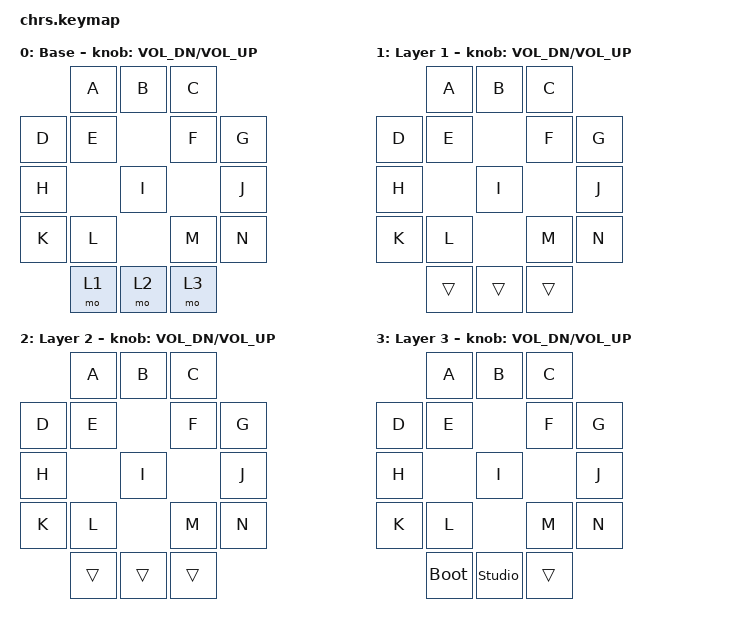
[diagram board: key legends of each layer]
#include <behaviors.dtsi>
#include <dt-bindings/zmk/keys.h>

/ {
    keymap {
        compatible = "zmk,keymap";

        default_layer {
            display-name = "Base";
            bindings = <
                &kp A &kp B &kp C
                &kp D &kp E &kp F &kp G
                &kp H &kp I &kp J
                &kp K &kp L &kp M &kp N
                &mo 1  &mo 2  &mo 3
            >;
            sensor-bindings = <&inc_dec_kp C_VOL_DN C_VOL_UP>;
        };
        layer_1 {
            display-name = "Layer 1";
            bindings = <
                &kp A &kp B &kp C
                &kp D &kp E &kp F &kp G
                &kp H &kp I &kp J
                &kp K &kp L &kp M &kp N
                &trans &trans &trans
            >;
            sensor-bindings = <&inc_dec_kp C_VOL_DN C_VOL_UP>;
        };
        layer_2 {
            display-name = "Layer 2";
            bindings = <
                &kp A &kp B &kp C
                &kp D &kp E &kp F &kp G
                &kp H &kp I &kp J
                &kp K &kp L &kp M &kp N
                &trans &trans &trans
            >;
            sensor-bindings = <&inc_dec_kp C_VOL_DN C_VOL_UP>;
        };
        layer_3 {
            display-name = "Layer 3";
            bindings = <
                &kp A &kp B &kp C
                &kp D &kp E &kp F &kp G
                &kp H &kp I &kp J
                &kp K &kp L &kp M &kp N
                &bootloader &studio_unlock &trans
            >;
            sensor-bindings = <&inc_dec_kp C_VOL_DN C_VOL_UP>;
        };
        
    };
};
